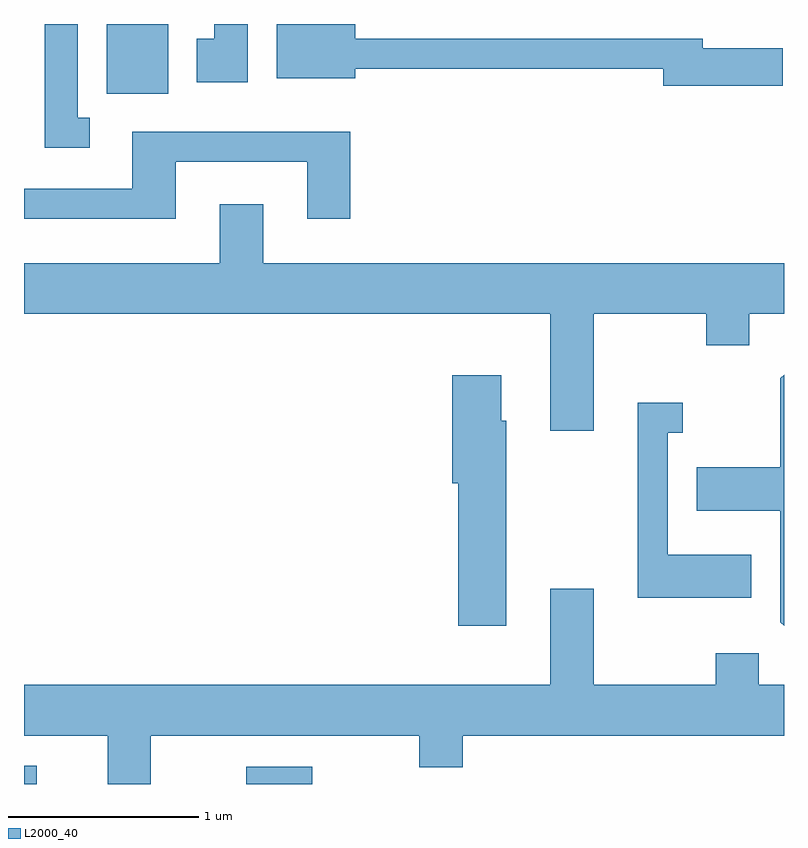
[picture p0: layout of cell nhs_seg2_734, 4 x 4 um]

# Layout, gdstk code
import gdstk
lib = gdstk.Library(unit=1e-6, precision=1e-09)
def R(c, l, rs):  # rectangles x0, y0, x1, y1
    for r in rs: c.add(gdstk.rectangle(r[:2], r[2:], *l))
def P(c, l, *ps):  # polygons
    for p in ps: c.add(gdstk.Polygon(p, *l))
L2000_40 = (2000, 40)

nhs_seg2_734 = lib.new_cell('nhs_seg2_734')
R(nhs_seg2_734, L2000_40, [(205.611,1085.802,205.678,1085.899), (206.781,1085.802,207.128,1085.894), (206.046,1089.436,206.369,1089.802)])
P(nhs_seg2_734, L2000_40, [(206.789,1089.802),(206.611,1089.802),(206.611,1089.724),(206.521,1089.724),(206.521,1089.496),(206.789,1089.496)],
  [(205.958,1089.309),(205.894,1089.309),(205.894,1089.802),(205.721,1089.802),(205.721,1089.151),(205.958,1089.151)],
  [(209.604,1089.674),(209.184,1089.674),(209.184,1089.724),(207.354,1089.724),(207.354,1089.802),(206.941,1089.802),(206.941,1089.516),(207.354,1089.516),(207.354,1089.566),(208.976,1089.566),(208.976,1089.476),(209.604,1089.476)],
  [(206.409,1089.076),(207.101,1089.076),(207.101,1088.776),(207.329,1088.776),(207.329,1089.234),(206.181,1089.234),(206.181,1088.934),(205.611,1088.934),(205.611,1088.776),(206.409,1088.776)],
  [(208.609,1088.276),(209.201,1088.276),(209.201,1088.111),(209.429,1088.111),(209.429,1088.276),(209.611,1088.276),(209.611,1088.544),(206.869,1088.544),(206.869,1088.854),(206.641,1088.854),(206.641,1088.544),(205.611,1088.544),(205.611,1088.276),(208.381,1088.276),(208.381,1087.661),(208.609,1087.661)],
  [(209.611,1087.957),(209.591,1087.937),(209.591,1087.469),(209.151,1087.469),(209.151,1087.241),(209.591,1087.241),(209.591,1086.654),(209.611,1086.634)],
  [(208.149,1087.714),(208.124,1087.714),(208.124,1087.954),(207.866,1087.954),(207.866,1087.386),(207.896,1087.386),(207.896,1086.636),(208.149,1086.636)],
  [(209.439,1087.009),(208.999,1087.009),(208.999,1087.651),(209.078,1087.651),(209.078,1087.809),(208.841,1087.809),(208.841,1086.781),(209.439,1086.781)],
  [(206.279,1086.056),(207.691,1086.056),(207.691,1085.891),(207.919,1085.891),(207.919,1086.056),(209.611,1086.056),(209.611,1086.324),(209.479,1086.324),(209.479,1086.489),(209.251,1086.489),(209.251,1086.324),(208.609,1086.324),(208.609,1086.829),(208.381,1086.829),(208.381,1086.324),(205.611,1086.324),(205.611,1086.056),(206.051,1086.056),(206.051,1085.802),(206.279,1085.802)])

lib.write_gds('nhs_seg2_734.gds')
